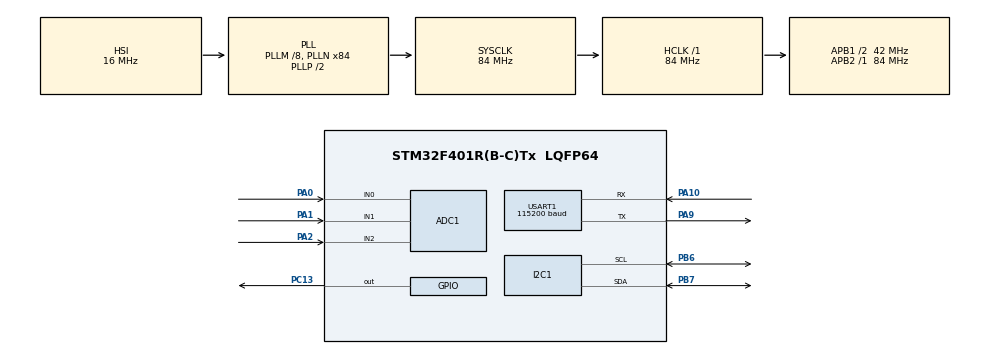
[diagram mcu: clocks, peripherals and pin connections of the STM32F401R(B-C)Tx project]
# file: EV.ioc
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ADC1.Channel-3\#ChannelRegularConversion=ADC_CHANNEL_0
ADC1.Channel-5\#ChannelRegularConversion=ADC_CHANNEL_1
ADC1.Channel-8\#ChannelRegularConversion=ADC_CHANNEL_2
ADC1.ContinuousConvMode=ENABLE
ADC1.DMAContinuousRequests=ENABLE
ADC1.DiscontinuousConvMode=DISABLE
ADC1.InjNumberOfConversion=0
ADC1.NbrOfConversion=3
ADC1.NbrOfConversionFlag=1
ADC1.Rank-3\#ChannelRegularConversion=1
ADC1.Rank-5\#ChannelRegularConversion=2
ADC1.Rank-8\#ChannelRegularConversion=3
ADC1.SamplingTime-3\#ChannelRegularConversion=ADC_SAMPLETIME_480CYCLES
ADC1.SamplingTime-5\#ChannelRegularConversion=ADC_SAMPLETIME_480CYCLES
ADC1.SamplingTime-8\#ChannelRegularConversion=ADC_SAMPLETIME_480CYCLES
ADC1.ScanConvMode=ENABLE
ADC1.master=1
Dma.ADC1.0.Direction=DMA_PERIPH_TO_MEMORY
Dma.ADC1.0.FIFOMode=DMA_FIFOMODE_DISABLE
Dma.ADC1.0.Instance=DMA2_Stream0
Dma.ADC1.0.MemDataAlignment=DMA_MDATAALIGN_HALFWORD
Dma.ADC1.0.MemInc=DMA_MINC_ENABLE
Dma.ADC1.0.Mode=DMA_CIRCULAR
Dma.ADC1.0.PeriphDataAlignment=DMA_PDATAALIGN_HALFWORD
Dma.ADC1.0.PeriphInc=DMA_PINC_DISABLE
Dma.ADC1.0.Priority=DMA_PRIORITY_LOW
Dma.Request0=ADC1
Mcu.Family=STM32F4
Mcu.Name=STM32F401R(B-C)Tx
Mcu.Package=LQFP64
NVIC.ADC_IRQn=true\:0\:0\:false\:false\:true\:true\:true\:true
NVIC.DMA2_Stream0_IRQn=true\:0\:0\:false\:false\:true\:false\:true\:true
NVIC.PriorityGroup=NVIC_PRIORITYGROUP_4
NVIC.TIM1_BRK_TIM9_IRQn=true\:0\:0\:false\:false\:true\:true\:true\:true
NVIC.TIM1_UP_TIM10_IRQn=true\:0\:0\:false\:false\:true\:true\:true\:true
NVIC.USART1_IRQn=true\:0\:0\:false\:false\:true\:true\:true\:true
PA0-WKUP.Signal=ADCx_IN0
PA1.Signal=ADCx_IN1
PA10.Mode=Asynchronous
PA10.Signal=USART1_RX
PA2.Signal=ADCx_IN2
PA9.Mode=Asynchronous
PA9.Signal=USART1_TX
PB6.Mode=I2C
PB6.Signal=I2C1_SCL
PB7.Mode=I2C
PB7.Signal=I2C1_SDA
PC13-ANTI_TAMP.Signal=GPIO_Output
PC14-OSC32_IN.Mode=LSE-External-Oscillator
PC14-OSC32_IN.Signal=RCC_OSC32_IN
PC15-OSC32_OUT.Mode=LSE-External-Oscillator
PC15-OSC32_OUT.Signal=RCC_OSC32_OUT
ProjectManager.HeapSize=0x200
ProjectManager.StackSize=0x400
ProjectManager.TargetToolchain=STM32CubeIDE
RCC.48MHZClocksFreq_Value=42000000
RCC.AHBFreq_Value=84000000
RCC.APB1CLKDivider=RCC_HCLK_DIV2
RCC.APB1Freq_Value=42000000
RCC.APB1TimFreq_Value=84000000
RCC.APB2Freq_Value=84000000
RCC.APB2TimFreq_Value=84000000
RCC.CortexFreq_Value=84000000
RCC.HCLKFreq_Value=84000000
RCC.HSE_VALUE=25000000
RCC.HSI_VALUE=16000000
RCC.PLLM=8
RCC.PLLN=84
RCC.SYSCLKFreq_VALUE=84000000
RCC.SYSCLKSource=RCC_SYSCLKSOURCE_PLLCLK
RCC.VCOOutputFreq_Value=168000000
SH.ADCx_IN0.0=ADC1_IN0,IN0
SH.ADCx_IN1.0=ADC1_IN1,IN1
SH.ADCx_IN2.0=ADC1_IN2,IN2
TIM1.Period=499
TIM1.Prescaler=839
USART1.BaudRate=115200
USART1.VirtualMode=VM_ASYNC
VP_RTC_VS_RTC_Activate.Mode=RTC_Enabled
VP_RTC_VS_RTC_Calendar.Mode=RTC_Calendar
VP_TIM1_VS_ClockSourceINT.Mode=Internal
board=custom

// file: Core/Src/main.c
/* USER CODE BEGIN Header */
/**
 ******************************************************************************
 * @file           : main.c
 * @brief          : Main program body
 ******************************************************************************
 * @attention
 *
 * Copyright (c) 2024 STMicroelectronics.
 * All rights reserved.
 *
 * This software is licensed under terms that can be found in the LICENSE file
 * in the root directory of this software component.
 * If no LICENSE file comes with this software, it is provided AS-IS.
 *
 ******************************************************************************
 */
/* USER CODE END Header */
#include "main.h"

/* USER CODE BEGIN Includes */
#include "stdio.h"
#include "string.h"
#define HEAD 0x02
#define FOOTER 0x03
/* USER CODE END Includes */

ADC_HandleTypeDef hadc1;
DMA_HandleTypeDef hdma_adc1;

I2C_HandleTypeDef hi2c1;

RTC_HandleTypeDef hrtc;

TIM_HandleTypeDef htim1;

UART_HandleTypeDef huart1;

/* USER CODE BEGIN PV */
RTC_TimeTypeDef sTime = { 0 };
RTC_DateTypeDef sDate = { 0 };
/* USER CODE END PV */

void SystemClock_Config(void);
static void MX_GPIO_Init(void);
static void MX_DMA_Init(void);
static void MX_USART1_UART_Init(void);
static void MX_ADC1_Init(void);
static void MX_RTC_Init(void);
static void MX_TIM1_Init(void);
static void MX_I2C1_Init(void);
/* USER CODE BEGIN PFP */

uint16_t adc_dma_result[4];
// This variable calculate the array length.
// In our case, array size in 3
int adc_channel_count = sizeof(adc_dma_result) / sizeof(adc_dma_result[0]);
// This flag will help to detect
// the DMA conversion completed or not

// This character buffer array will
// store the result after conversion complete

char dma_result_buffer[50];  // Adjust size based on your data
char transmit_buffer[60];    // Larger size to accommodate header and footer
char buffer[50];
double test;
uint32_t adc_count;
uint64_t adc_count2;
#define SLAVE_ADDRESS 0x08 // I2C slave address (Arduino)
uint8_t data[] = "Hello Arduino!"; // Data to send

#define N 5  // Number of points for the moving average

typedef struct {
    double* buffer;  // Pointer for dynamic allocation
    int index;
    int count;
    double sum;
    uint8_t frame;
} MovingAverage;

typedef struct {
	double average;
    double adc_result;
    double actual;
    double raw;
    MovingAverage ADC_MA;
    MovingAverage OUTPUT_MA;

} Input;

// Initialize the Moving Average structure
void initMovingAverage(MovingAverage* ma,uint8_t frame) {
	 ma->buffer = (double*)malloc(frame * sizeof(double)); // Allocate memory
	ma->frame=frame;
    for (int i = 0; i < ma->frame; i++) {
        ma->buffer[i] = 0;
    }
    ma->index = 0;
    ma->count = 0;
    ma->sum = 0;
}

// Add a new value to the moving average
double addValue(MovingAverage* ma, float value) {
    // Subtract the oldest value from the sum
    ma->sum -= ma->buffer[ma->index];
    // Replace it with the new value
    ma->buffer[ma->index] = value;
    // Add the new value to the sum
    ma->sum += value;

    // Move the index in a circular manner
    ma->index = (ma->index + 1) % ma->frame;

    // Keep track of the number of values added (up to N)
    if (ma->count < ma->frame) {
        ma->count++;
    }

    // Return the current moving average
    return ma->sum / ma->count;
}

Input V1;
Input V2;
Input I1;
Input I2;

double resultt;
/* USER CODE END PFP */

/* USER CODE BEGIN 0 */
double v_to_c1(double V){
	double a= -0.21694;
	double b= 8.57057;
	double c= -0.31640;

	double I= a*V*V+b*V+c;
	if(I<0){
		I=0;
	}
	return I;
}

double v_to_c2(double V){
	double a= 15.01681;
	double b= -44.34005;
	double c= 43.69469;
	double d= 44.55270;
	double e= 1.87532;

	double I= a*V*V*V*V+b*V*V*V+c*V*V+d*V+e;
	if(I<0){
		I=0;
	}
	return I;
}

double v_to_v(double V){
	double m= 150.0/(2.641);
	double c= -10;
	return (m*(V)+c);
}

/* USER CODE END 0 */

int main(void)
{
  /* USER CODE BEGIN 1 */
	initMovingAverage(&V1.ADC_MA,100);
	initMovingAverage(&V1.OUTPUT_MA,100);
	initMovingAverage(&I1.ADC_MA,100);
	initMovingAverage(&I1.OUTPUT_MA,100);
	initMovingAverage(&I2.ADC_MA, 100);
	initMovingAverage(&I2.OUTPUT_MA,100);

  /* USER CODE END 1 */

  /* MCU Configuration--------------------------------------------------------*/

  /* Reset of all peripherals, Initializes the Flash interface and the Systick. */
  HAL_Init();

  /* Configure the system clock */
  SystemClock_Config();

  /* USER CODE BEGIN SysInit */
//	uint8_t data[] = "Hello world\n";

  /* USER CODE END SysInit */

  /* Initialize all configured peripherals */
  MX_GPIO_Init();
  MX_DMA_Init();
  MX_USART1_UART_Init();
  MX_ADC1_Init();
  MX_RTC_Init();
  MX_TIM1_Init();
  MX_I2C1_Init();
  /* USER CODE BEGIN 2 */
HAL_TIM_Base_Start_IT(&htim1);

  /* USER CODE END 2 */

  /* Infinite loop */
  /* USER CODE BEGIN WHILE */
//	HAL_ADC_Start_DMA(&hadc1, (uint32_t *) adc_dma_result , 1);
//	HAL_ADC_Start_DMA(&hadc1, (uint32_t *) adc_dma_result , 3);

	while (1) {

//	HAL_ADC_Start_DMA(&hadc1, (uint32_t *) adc_dma_result , adc_channel_count);
    /* USER CODE END WHILE */

    /* USER CODE BEGIN 3 */
		adc_dma_result[0]++;
		adc_dma_result[1]+=2;
		adc_dma_result[2]+=4;
////		adc_count++;
////		    HAL_RTC_GetTime(&hrtc, &sTime, RTC_FORMAT_BIN);
////		    HAL_RTC_GetDate(&hrtc, &sDate, RTC_FORMAT_BIN);
////
////		    // Create payload
////		    sprintf(dma_result_buffer, "%d \n", adc_count);
////
////		    // Wrap payload with header and footer
////		    transmit_buffer[0] = HEAD;
////		    strcpy(&transmit_buffer[1], dma_result_buffer);  // Copy payload after header
////		    transmit_buffer[strlen(dma_result_buffer) + 1] = FOOTER;
////		    transmit_buffer[strlen(dma_result_buffer) + 2] = '\0';  // Null-terminate
////
//		V1.actual+=0.8;
//		I1.actual+=0.4;
//		I2.actual+=1.1;
////		    // Transmit wrapped data
		sprintf(dma_result_buffer, "%.2f,%2.2f,%.2f,%2.2f",V1.raw,V1.actual,I1.raw,I1.actual);
		transmit_buffer[0] = HEAD;                                 // Add header
		strcpy(&transmit_buffer[1], dma_result_buffer);              // Copy payload
		transmit_buffer[strlen(dma_result_buffer) + 1] = FOOTER;     // Add footer
		transmit_buffer[strlen(dma_result_buffer) + 2] = '\0';       // Null-terminate
		HAL_UART_Transmit(&huart1, (uint8_t*)transmit_buffer, strlen(transmit_buffer), HAL_MAX_DELAY);
		 HAL_Delay(20);
		}
  /* USER CODE END 3 */
}

void SystemClock_Config(void)
{
  RCC_OscInitTypeDef RCC_OscInitStruct = {0};
  RCC_ClkInitTypeDef RCC_ClkInitStruct = {0};

  /** Configure the main internal regulator output voltage
  */
  __HAL_RCC_PWR_CLK_ENABLE();
  __HAL_PWR_VOLTAGESCALING_CONFIG(PWR_REGULATOR_VOLTAGE_SCALE2);

  /** Initializes the RCC Oscillators according to the specified parameters
  * in the RCC_OscInitTypeDef structure.
  */
  RCC_OscInitStruct.OscillatorType = RCC_OSCILLATORTYPE_HSI|RCC_OSCILLATORTYPE_LSI;
  RCC_OscInitStruct.HSIState = RCC_HSI_ON;
  RCC_OscInitStruct.HSICalibrationValue = RCC_HSICALIBRATION_DEFAULT;
  RCC_OscInitStruct.LSIState = RCC_LSI_ON;
  RCC_OscInitStruct.PLL.PLLState = RCC_PLL_ON;
  RCC_OscInitStruct.PLL.PLLSource = RCC_PLLSOURCE_HSI;
  RCC_OscInitStruct.PLL.PLLM = 8;
  RCC_OscInitStruct.PLL.PLLN = 84;
  RCC_OscInitStruct.PLL.PLLP = RCC_PLLP_DIV2;
  RCC_OscInitStruct.PLL.PLLQ = 4;
  if (HAL_RCC_OscConfig(&RCC_OscInitStruct) != HAL_OK)
  {
    Error_Handler();
  }

  /** Initializes the CPU, AHB and APB buses clocks
  */
  RCC_ClkInitStruct.ClockType = RCC_CLOCKTYPE_HCLK|RCC_CLOCKTYPE_SYSCLK
                              |RCC_CLOCKTYPE_PCLK1|RCC_CLOCKTYPE_PCLK2;
  RCC_ClkInitStruct.SYSCLKSource = RCC_SYSCLKSOURCE_PLLCLK;
  RCC_ClkInitStruct.AHBCLKDivider = RCC_SYSCLK_DIV1;
  RCC_ClkInitStruct.APB1CLKDivider = RCC_HCLK_DIV2;
  RCC_ClkInitStruct.APB2CLKDivider = RCC_HCLK_DIV1;

  if (HAL_RCC_ClockConfig(&RCC_ClkInitStruct, FLASH_LATENCY_2) != HAL_OK)
  {
    Error_Handler();
  }
}

static void MX_ADC1_Init(void)
{

  ADC_ChannelConfTypeDef sConfig = {0};

  /** Configure the global features of the ADC (Clock, Resolution, Data Alignment and number of conversion)
  */
  hadc1.Instance = ADC1;
  hadc1.Init.ClockPrescaler = ADC_CLOCK_SYNC_PCLK_DIV4;
  hadc1.Init.Resolution = ADC_RESOLUTION_12B;
  hadc1.Init.ScanConvMode = ENABLE;
  hadc1.Init.ContinuousConvMode = ENABLE;
  hadc1.Init.DiscontinuousConvMode = DISABLE;
  hadc1.Init.ExternalTrigConvEdge = ADC_EXTERNALTRIGCONVEDGE_NONE;
  hadc1.Init.ExternalTrigConv = ADC_SOFTWARE_START;
  hadc1.Init.DataAlign = ADC_DATAALIGN_RIGHT;
  hadc1.Init.NbrOfConversion = 3;
  hadc1.Init.DMAContinuousRequests = ENABLE;
  hadc1.Init.EOCSelection = ADC_EOC_SINGLE_CONV;
  if (HAL_ADC_Init(&hadc1) != HAL_OK)
  {
    Error_Handler();
  }

  /** Configure for the selected ADC regular channel its corresponding rank in the sequencer and its sample time.
  */
  sConfig.Channel = ADC_CHANNEL_0;
  sConfig.Rank = 1;
  sConfig.SamplingTime = ADC_SAMPLETIME_480CYCLES;
  if (HAL_ADC_ConfigChannel(&hadc1, &sConfig) != HAL_OK)
  {
    Error_Handler();
  }

  /** Configure for the selected ADC regular channel its corresponding rank in the sequencer and its sample time.
  */
  sConfig.Channel = ADC_CHANNEL_1;
  sConfig.Rank = 2;
  if (HAL_ADC_ConfigChannel(&hadc1, &sConfig) != HAL_OK)
  {
    Error_Handler();
  }

  /** Configure for the selected ADC regular channel its corresponding rank in the sequencer and its sample time.
  */
  sConfig.Channel = ADC_CHANNEL_2;
  sConfig.Rank = 3;
  if (HAL_ADC_ConfigChannel(&hadc1, &sConfig) != HAL_OK)
  {
    Error_Handler();
  }

}

static void MX_I2C1_Init(void)
{

  hi2c1.Instance = I2C1;
  hi2c1.Init.ClockSpeed = 100000;
  hi2c1.Init.DutyCycle = I2C_DUTYCYCLE_2;
  hi2c1.Init.OwnAddress1 = 0;
  hi2c1.Init.AddressingMode = I2C_ADDRESSINGMODE_7BIT;
  hi2c1.Init.DualAddressMode = I2C_DUALADDRESS_DISABLE;
  hi2c1.Init.OwnAddress2 = 0;
  hi2c1.Init.GeneralCallMode = I2C_GENERALCALL_DISABLE;
  hi2c1.Init.NoStretchMode = I2C_NOSTRETCH_DISABLE;
  if (HAL_I2C_Init(&hi2c1) != HAL_OK)
  {
    Error_Handler();
  }

}

static void MX_RTC_Init(void)
{

  RTC_TimeTypeDef sTime = {0};
  RTC_DateTypeDef sDate = {0};

  /** Initialize RTC Only
  */
  hrtc.Instance = RTC;
  hrtc.Init.HourFormat = RTC_HOURFORMAT_24;
  hrtc.Init.AsynchPrediv = 127;
  hrtc.Init.SynchPrediv = 255;
  hrtc.Init.OutPut = RTC_OUTPUT_DISABLE;
  hrtc.Init.OutPutPolarity = RTC_OUTPUT_POLARITY_HIGH;
  hrtc.Init.OutPutType = RTC_OUTPUT_TYPE_OPENDRAIN;
  if (HAL_RTC_Init(&hrtc) != HAL_OK)
  {
    Error_Handler();
  }

  /** Initialize RTC and set the Time and Date
  */
  sTime.Hours = 0x0;
  sTime.Minutes = 0x0;
  sTime.Seconds = 0x0;
  sTime.DayLightSaving = RTC_DAYLIGHTSAVING_NONE;
  sTime.StoreOperation = RTC_STOREOPERATION_RESET;
  if (HAL_RTC_SetTime(&hrtc, &sTime, RTC_FORMAT_BCD) != HAL_OK)
  {
    Error_Handler();
  }
  sDate.WeekDay = RTC_WEEKDAY_MONDAY;
  sDate.Month = RTC_MONTH_JANUARY;
  sDate.Date = 0x1;
  sDate.Year = 0x0;

  if (HAL_RTC_SetDate(&hrtc, &sDate, RTC_FORMAT_BCD) != HAL_OK)
  {
    Error_Handler();
  }

}

static void MX_TIM1_Init(void)
{

  TIM_ClockConfigTypeDef sClockSourceConfig = {0};
  TIM_MasterConfigTypeDef sMasterConfig = {0};

  htim1.Instance = TIM1;
  htim1.Init.Prescaler = 839;
  htim1.Init.CounterMode = TIM_COUNTERMODE_UP;
  htim1.Init.Period = 499;
  htim1.Init.ClockDivision = TIM_CLOCKDIVISION_DIV1;
  htim1.Init.RepetitionCounter = 0;
  htim1.Init.AutoReloadPreload = TIM_AUTORELOAD_PRELOAD_DISABLE;
  if (HAL_TIM_Base_Init(&htim1) != HAL_OK)
  {
    Error_Handler();
  }
  sClockSourceConfig.ClockSource = TIM_CLOCKSOURCE_INTERNAL;
  if (HAL_TIM_ConfigClockSource(&htim1, &sClockSourceConfig) != HAL_OK)
  {
    Error_Handler();
  }
  sMasterConfig.MasterOutputTrigger = TIM_TRGO_RESET;
  sMasterConfig.MasterSlaveMode = TIM_MASTERSLAVEMODE_DISABLE;
  if (HAL_TIMEx_MasterConfigSynchronization(&htim1, &sMasterConfig) != HAL_OK)
  {
    Error_Handler();
  }

}

static void MX_USART1_UART_Init(void)
{

  huart1.Instance = USART1;
  huart1.Init.BaudRate = 115200;
  huart1.Init.WordLength = UART_WORDLENGTH_8B;
  huart1.Init.StopBits = UART_STOPBITS_1;
  huart1.Init.Parity = UART_PARITY_NONE;
  huart1.Init.Mode = UART_MODE_TX_RX;
  huart1.Init.HwFlowCtl = UART_HWCONTROL_NONE;
  huart1.Init.OverSampling = UART_OVERSAMPLING_16;
  if (HAL_UART_Init(&huart1) != HAL_OK)
  {
    Error_Handler();
  }

}

static void MX_DMA_Init(void)
{

  /* DMA controller clock enable */
  __HAL_RCC_DMA2_CLK_ENABLE();

  /* DMA interrupt init */
  /* DMA2_Stream0_IRQn interrupt configuration */
  HAL_NVIC_SetPriority(DMA2_Stream0_IRQn, 0, 0);
  HAL_NVIC_EnableIRQ(DMA2_Stream0_IRQn);

}

static void MX_GPIO_Init(void)
{
  GPIO_InitTypeDef GPIO_InitStruct = {0};

  /* GPIO Ports Clock Enable */
  __HAL_RCC_GPIOC_CLK_ENABLE();
  __HAL_RCC_GPIOA_CLK_ENABLE();
  __HAL_RCC_GPIOB_CLK_ENABLE();

  /*Configure GPIO pin Output Level */
  HAL_GPIO_WritePin(GPIOC, GPIO_PIN_13, GPIO_PIN_RESET);

  /*Configure GPIO pin : PC13 */
  GPIO_InitStruct.Pin = GPIO_PIN_13;
  GPIO_InitStruct.Mode = GPIO_MODE_OUTPUT_PP;
  GPIO_InitStruct.Pull = GPIO_NOPULL;
  GPIO_InitStruct.Speed = GPIO_SPEED_FREQ_LOW;
  HAL_GPIO_Init(GPIOC, &GPIO_InitStruct);

}

/* USER CODE BEGIN 4 */

void HAL_ADC_ConvCpltCallback(ADC_HandleTypeDef *hadc) {
	// I set adc_conv_complete_flag variable to 1 when,
	// HAL_ADC_ConvCpltCallback function is call.

}

void HAL_TIM_PeriodElapsedCallback(TIM_HandleTypeDef *htim) { //5ms

	static uint8_t count;
	count++;
	V1.average = addValue(&V1.ADC_MA, adc_dma_result[0]);
			V1.adc_result = (V1.average / 4095.0) * 3.0;
			I1.average = addValue(&I1.ADC_MA, adc_dma_result[1]);
			I1.adc_result = (I1.average / 4095.0) * 3.0;
			I2.average = addValue(&I2.ADC_MA, adc_dma_result[2]);
			I2.adc_result = (I2.average / 4095.0) * 3.0;
			V1.raw=v_to_v(V1.adc_result);
			I1.raw= v_to_c1(I1.adc_result);
			I2.raw= v_to_c2(I2.adc_result);

			V1.actual=addValue(&V1.OUTPUT_MA, V1.raw);
			I1.actual = addValue(&I1.OUTPUT_MA, I1.raw);
			I2.actual = addValue(&I2.OUTPUT_MA, I2.raw);

	if (count >= 10) {
//	sprintf(buffer, "DTime: %02d:%02d:%02d:%03ld, ", sTime.Hours,sTime.Minutes, sTime.Seconds, abs(sTime.SubSeconds-255));

		// Transmit the string over UART
//		HAL_UART_Transmit(&huart1, (uint8_t*) buffer, strlen(buffer), HAL_MAX_DELAY);

//		test = (adc_dma_result[0] / 4095.0) * 3;

//		adc_count2=adc_count;
//		adc_count=0;
		HAL_GPIO_TogglePin(GPIOC, GPIO_PIN_13);
		count = 0;
	}
//	adc_dma_result[0]+=3;
//	adc_dma_result[1]+=2;
//	adc_dma_result[2]++;
//		adc_dma_result[3]+=5;

}
/* USER CODE END 4 */

void Error_Handler(void)
{
	__disable_irq();
	while (1) {
	}
}
